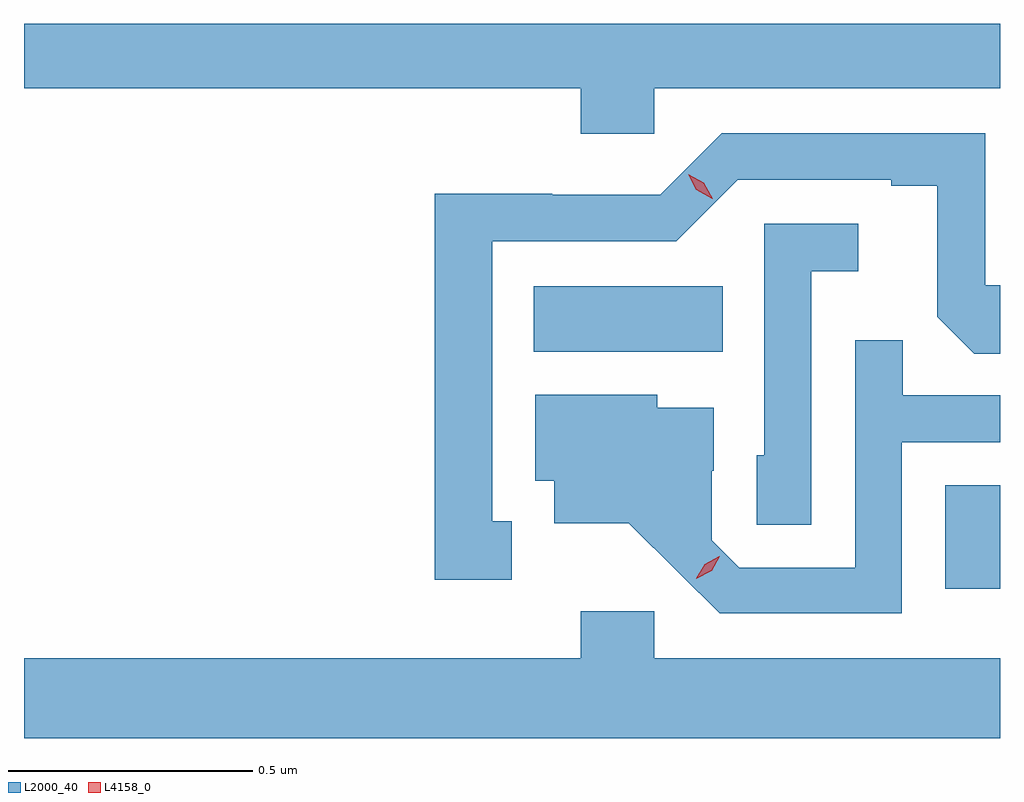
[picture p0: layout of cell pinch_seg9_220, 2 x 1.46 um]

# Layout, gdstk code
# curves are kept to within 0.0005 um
import gdstk
lib = gdstk.Library(unit=1e-6, precision=1e-09)
def R(c, l, rs):  # rectangles x0, y0, x1, y1
    for r in rs: c.add(gdstk.rectangle(r[:2], r[2:], *l))
def P(c, l, *ps):  # polygons
    for p in ps: c.add(gdstk.Polygon(p, *l))
L2000_40 = (2000, 40)
L4158_0 = (4158, 0)

pinch_seg9_220 = lib.new_cell('pinch_seg9_220')
R(pinch_seg9_220, L2000_40, [(588.65,1247.342,588.762,1247.554), (587.807,1247.828,588.194,1247.962)])
P(pinch_seg9_220, L2000_40, [(588.054,1248.368),(588.762,1248.368),(588.762,1248.5),(586.762,1248.5),(586.762,1248.368),(587.903,1248.368),(587.903,1248.275),(588.054,1248.275)],
  [(587.761,1247.481),(587.722,1247.481),(587.722,1248.054),(588.099,1248.054),(588.225,1248.18),(588.539,1248.18),(588.539,1248.168),(588.633,1248.168),(588.633,1247.9),(588.709,1247.824),(588.762,1247.824),(588.762,1247.964),(588.732,1247.964),(588.732,1248.276),(588.192,1248.276),(588.066,1248.15),(587.844,1248.15),(587.844,1248.152),(587.604,1248.152),(587.604,1247.361),(587.761,1247.361)],
  [(588.375,1247.993),(588.472,1247.993),(588.472,1248.09),(588.279,1248.09),(588.279,1247.616),(588.264,1247.616),(588.264,1247.473),(588.375,1247.473)],
  [(588.561,1247.643),(588.762,1247.643),(588.762,1247.739),(588.563,1247.739),(588.563,1247.852),(588.465,1247.852),(588.465,1247.385),(588.228,1247.385),(588.171,1247.442),(588.171,1247.584),(588.175,1247.584),(588.175,1247.713),(588.06,1247.713),(588.06,1247.74),(587.81,1247.74),(587.81,1247.564),(587.849,1247.564),(587.849,1247.477),(588.001,1247.477),(588.188,1247.292),(588.561,1247.292)],
  [(588.762,1247.2),(588.054,1247.2),(588.054,1247.296),(587.903,1247.296),(587.903,1247.2),(586.762,1247.2),(586.762,1247.036),(588.762,1247.036)])
P(pinch_seg9_220, L4158_0, [(588.14,1247.363),(588.14,1247.364),(588.157,1247.393),(588.187,1247.409),(588.188,1247.409),(588.188,1247.409),(588.171,1247.379),(588.14,1247.363)],
  [(588.172,1248.141),(588.14,1248.16),(588.123,1248.192),(588.123,1248.192),(588.123,1248.192),(588.155,1248.174),(588.173,1248.141),(588.173,1248.141)])

lib.write_gds('pinch_seg9_220.gds')
